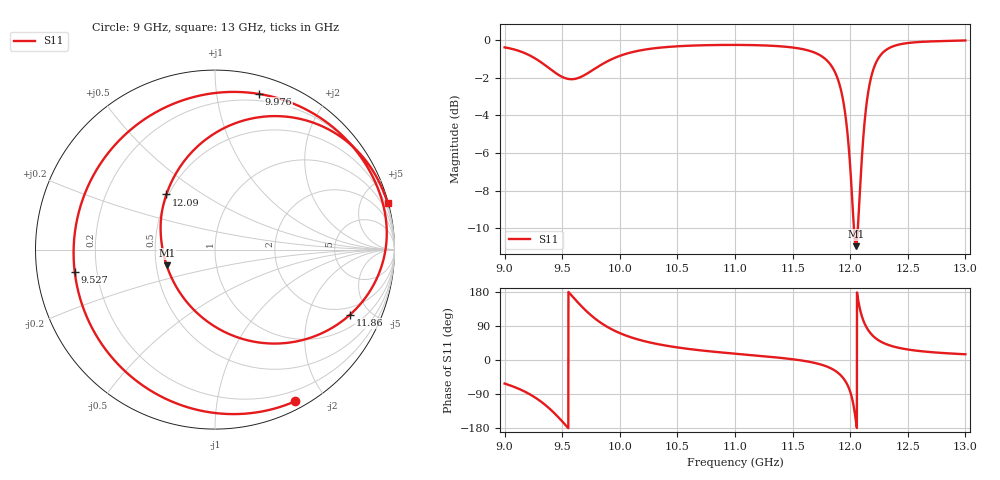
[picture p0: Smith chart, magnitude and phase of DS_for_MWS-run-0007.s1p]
! TOUCHSTONE file generated by CST DESIGN STUDIO
! Date and time: Tue Feb  4 17:57:32 2025
! Project name: C:\Work\MatlabApps\UnitCellOptimizationMatlab\CST\unitcell.cst
! Tree item: Tasks\Sweep1\SPara1\S-Parameters
! Header version: 2024
! Port assignment regex: !\s*Touchstone port\s*([0-9]+)\s*=\s*(CST MWS port|CST DES external port|CST DES block port)\s*(.+)\s* \(\"(.*)\"\)(\s*mode\s*([0-9]+))?.*
! Touchstone port assignment:
! Touchstone port 1 = CST DES external port 1 ("")
# GHz S MA R 50
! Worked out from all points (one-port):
!   4001 points, 9 GHz to 13 GHz, reference 50 ohm
!   lowest |S11| = -11.0 dB at 12.05 GHz (marker M1), VSWR 1.79, Z = 28.4 - j5.42 ohm
!   |S11| at or under -10 dB: 12.03229 GHz to 12.0666 GHz (34.31 MHz wide, 0.285 % of centre)
!   S11 on the Smith chart (normalised r, x): 9 GHz: 0.08, -1.65; 9.527 GHz: 0.12, -0.08; 9.976 GHz: 0.14, +1.31; 11.86 GHz: 1.56, -3.75; 12.09 GHz: 0.49, +0.36; 13 GHz: 0.09, +7.54
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9  0.9556 -62.2
9.141  0.9314 -78.5
9.291  0.8829 -104.3
9.394  0.8379 -129.4
9.5  0.7976 -162.0
9.527  0.7914 -171.1
9.623  0.7896 156.2
9.744  0.8239 119.6
9.847  0.8622 95.8
9.976  0.9014 74.2
10  0.9072 70.9
10.215  0.9424 49.6
10.5  0.9619 33.2
11  0.9701 16.6
11.5  0.9548 2.0
11.727  0.9147 -10.3
11.856  0.8348 -25.8
11.931  0.7106 -44.6
11.97  0.5901 -62.0
12  0.4609 -83.6
12.05  0.2833 -161.9
12.087  0.4094 131.4
12.132  0.6366 91.8
12.184  0.8014 68.0
12.238  0.8872 53.6
12.303  0.9366 43.0
12.5  0.9813 27.7
13  0.9968 15.1
